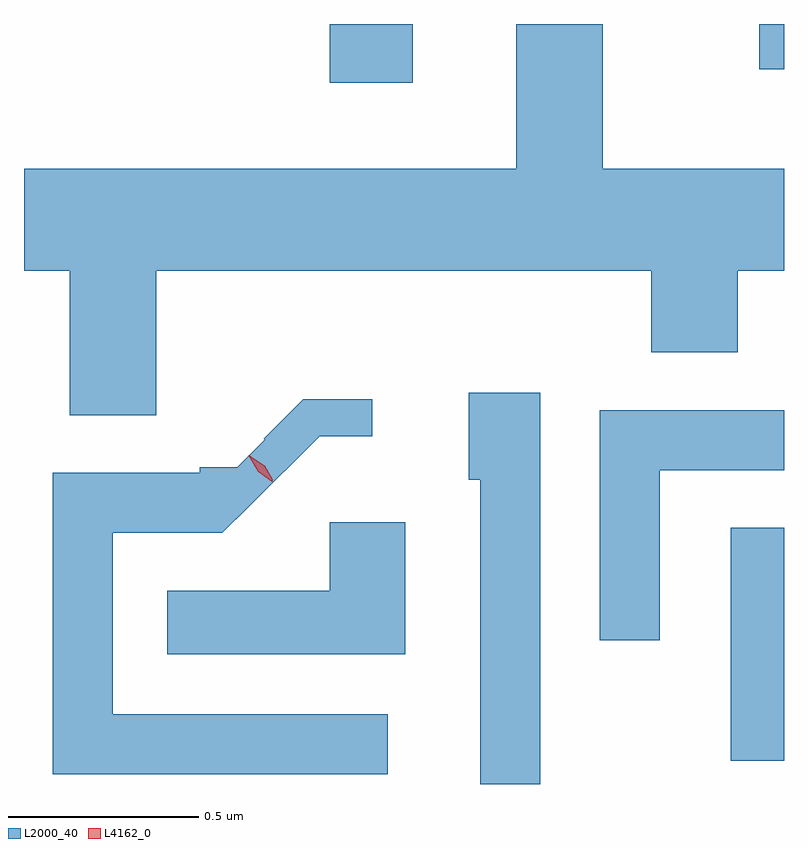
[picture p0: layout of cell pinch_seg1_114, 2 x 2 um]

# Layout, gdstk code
import gdstk
lib = gdstk.Library(unit=1e-6, precision=1e-09)
def R(c, l, rs):  # rectangles x0, y0, x1, y1
    for r in rs: c.add(gdstk.rectangle(r[:2], r[2:], *l))
def P(c, l, *ps):  # polygons
    for p in ps: c.add(gdstk.Polygon(p, *l))
L2000_40 = (2000, 40)
L4162_0 = (4162, 0)

pinch_seg1_114 = lib.new_cell('pinch_seg1_114')
R(pinch_seg1_114, L2000_40, [(213.761,889.406,213.901,890.019), (212.706,891.191,212.924,891.345), (213.836,891.226,213.901,891.345)])
P(pinch_seg1_114, L2000_40, [(212.249,890.696),(213.551,890.696),(213.551,890.481),(213.779,890.481),(213.779,890.696),(213.901,890.696),(213.901,890.964),(213.424,890.964),(213.424,891.345),(213.196,891.345),(213.196,890.964),(211.901,890.964),(211.901,890.696),(212.021,890.696),(212.021,890.316),(212.249,890.316)],
  [(213.259,890.374),(213.071,890.374),(213.071,890.146),(213.101,890.146),(213.101,889.345),(213.259,889.345)],
  [(212.858,889.529),(212.134,889.529),(212.134,890.006),(212.423,890.006),(212.492,890.075),(212.493,890.074),(212.679,890.26),(212.818,890.26),(212.818,890.358),(212.636,890.358),(212.532,890.254),(212.535,890.251),(212.462,890.178),(212.363,890.178),(212.363,890.164),(211.976,890.164),(211.976,889.371),(212.858,889.371)],
  [(213.574,890.171),(213.901,890.171),(213.901,890.329),(213.416,890.329),(213.416,889.723),(213.574,889.723)],
  [(212.904,890.034),(212.706,890.034),(212.706,889.854),(212.278,889.854),(212.278,889.686),(212.904,889.686)])
P(pinch_seg1_114, L4162_0, [(212.555,890.139),(212.517,890.167),(212.493,890.209),(212.493,890.21),(212.494,890.21),(212.532,890.181),(212.556,890.14),(212.556,890.139)],
  [(212.554,890.145),(212.519,890.169),(212.498,890.206),(212.498,890.206),(212.499,890.206),(212.534,890.183),(212.555,890.146),(212.555,890.145)])

lib.write_gds('pinch_seg1_114.gds')
